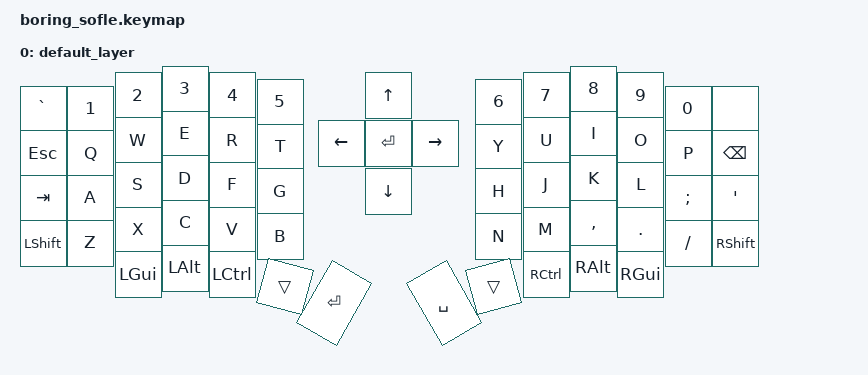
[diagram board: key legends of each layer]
#include <behaviors.dtsi>
#include <dt-bindings/zmk/keys.h>

/ {
    // Define a default keymap here.
    // See https://zmk.dev/docs/development/hardware-integration/new-shield#default-keymap.
    keymap {
        compatible = "zmk,keymap";
// |   SW   |   SW   |   SW   |   SW   |   SW   |   SW   |             |   A   |             |   SW   |   SW   |   SW   |   SW   |   SW   |   SW   |  
// |   SW   |   SW   |   SW   |   SW   |   SW   |   SW   |             |   D   |             |   SW   |   SW   |   SW   |   SW   |   SW   |   SW   |  
// |   SW   |   SW   |   SW   |   SW   |   SW   |   SW   |             |   C   |             |   SW   |   SW   |   SW   |   SW   |   SW   |   SW   |  
// |   SW   |   SW   |   SW   |   SW   |   SW   |   SW   |             |   B   |             |   SW   |   SW   |   SW   |   SW   |   SW   |   SW   |  
//                   |   SW   |   SW   |   SW   |   SW   |   SW   |    |  CTR  |    |   SW   |   SW   |   SW   |   SW   |   SW   |  
        default_layer {
            bindings = <
&kp GRAVE &kp N1 &kp N2   &kp N3   &kp N4    &kp N5          &kp UP_ARROW                &kp N6 &kp N7    &kp N8    &kp N9   &kp N0   &none
&kp ESC   &kp Q  &kp W    &kp E    &kp R     &kp T           &kp LEFT_ARROW              &kp Y  &kp U     &kp I     &kp O    &kp P    &kp BSPC
&kp TAB   &kp A  &kp S    &kp D    &kp F     &kp G           &kp DOWN_ARROW              &kp H  &kp J     &kp K     &kp L    &kp SEMI &kp SQT
&kp LSHFT &kp Z  &kp X    &kp C    &kp V     &kp B           &kp RIGHT_ARROW             &kp N  &kp M     &kp COMMA &kp DOT  &kp FSLH &kp RSHFT
                 &kp LGUI &kp LALT &kp LCTRL &trans &kp RET  &kp RET          &kp SPACE  &trans &kp RCTRL &kp RALT  &kp RGUI
            >;
        };
    };
};
